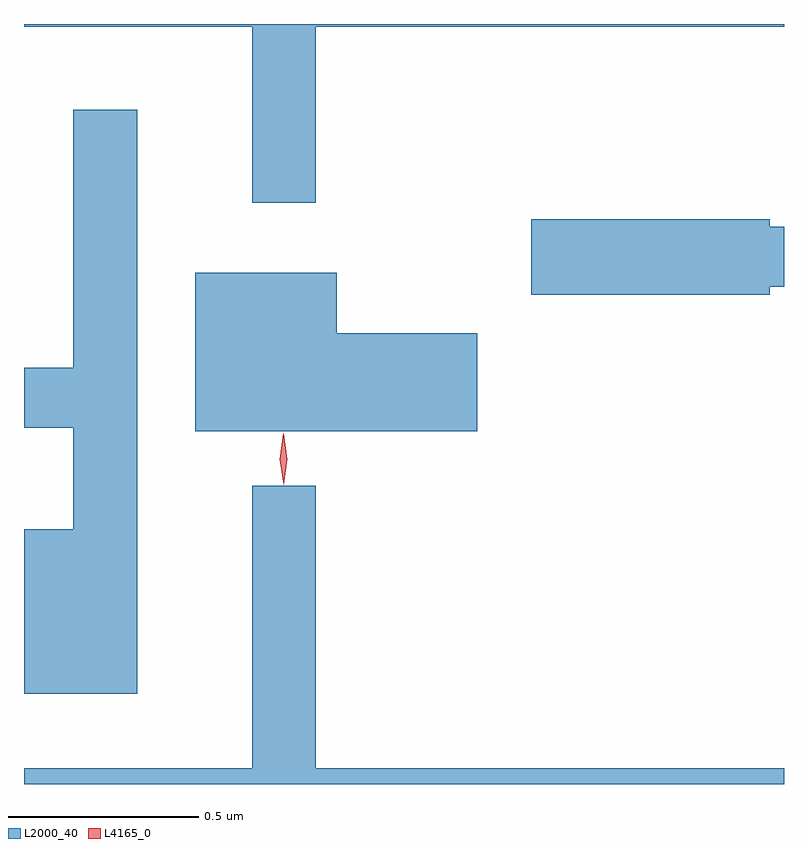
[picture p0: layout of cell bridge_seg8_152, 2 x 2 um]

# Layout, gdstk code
import gdstk
lib = gdstk.Library(unit=1e-6, precision=1e-09)
def P(c, l, *ps):  # polygons
    for p in ps: c.add(gdstk.Polygon(p, *l))
L2000_40 = (2000, 40)
L4165_0 = (4165, 0)

bridge_seg8_152 = lib.new_cell('bridge_seg8_152')
P(bridge_seg8_152, L2000_40, [(1727.259,1867.496),(1728.491,1867.496),(1728.491,1867.503),(1726.491,1867.503),(1726.491,1867.496),(1727.091,1867.496),(1727.091,1867.033),(1727.259,1867.033)],
  [(1726.789,1867.278),(1726.621,1867.278),(1726.621,1866.599),(1726.491,1866.599),(1726.491,1866.441),(1726.621,1866.441),(1726.621,1866.174),(1726.491,1866.174),(1726.491,1865.741),(1726.789,1865.741)],
  [(1728.454,1866.811),(1728.491,1866.811),(1728.491,1866.969),(1728.454,1866.969),(1728.454,1866.989),(1727.826,1866.989),(1727.826,1866.791),(1728.454,1866.791)],
  [(1727.684,1866.689),(1727.314,1866.689),(1727.314,1866.849),(1726.941,1866.849),(1726.941,1866.431),(1727.684,1866.431)],
  [(1728.491,1865.544),(1727.259,1865.544),(1727.259,1866.288),(1727.091,1866.288),(1727.091,1865.544),(1726.491,1865.544),(1726.491,1865.503),(1728.491,1865.503)])
P(bridge_seg8_152, L4165_0, [(1727.174,1866.293),(1727.174,1866.294),(1727.164,1866.356),(1727.174,1866.419),(1727.174,1866.42),(1727.174,1866.419),(1727.184,1866.357),(1727.175,1866.294)],
  [(1727.174,1866.29),(1727.164,1866.358),(1727.173,1866.425),(1727.174,1866.426),(1727.174,1866.425),(1727.184,1866.358),(1727.175,1866.29),(1727.175,1866.29)])

lib.write_gds('bridge_seg8_152.gds')
